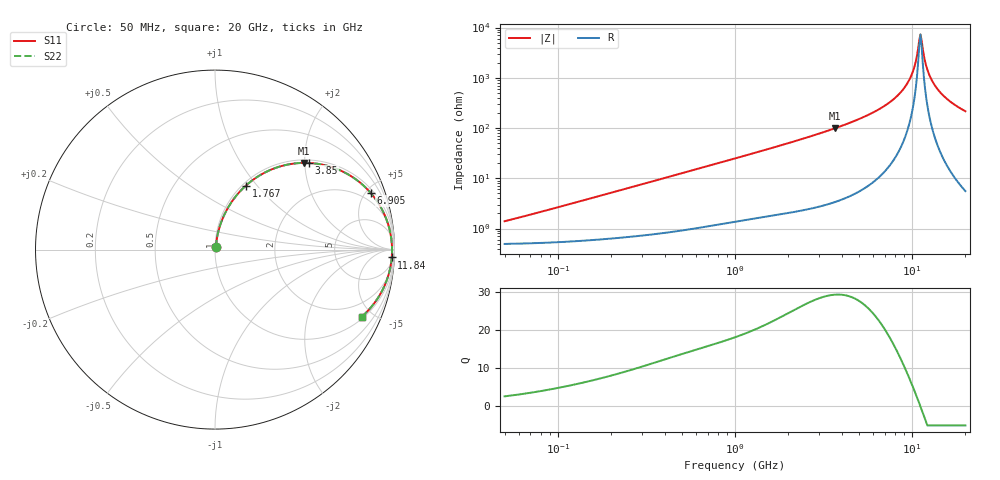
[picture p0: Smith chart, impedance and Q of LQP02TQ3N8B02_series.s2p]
!Murata Part Number: LQP02TQ3N8B02
!These Parameters are Measured in Series Mode Connection
!  o--[Z]--o
!Port1  Port2
!  o-------o
!Freq. Start=50[MHz] Stop=20[GHz], 401[Steps]
# Hz S RI R 50
!Freq.(Hz) S11(Real) S11(Imag) S21(Real) S21(Imag) S12(Real) S12(Imag) S22(Real) S22(Imag)
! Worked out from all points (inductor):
!   401 points, 50 MHz to 20 GHz, reference 50 ohm
!   read as one part in series: L = 4.15 nH near 58.08 MHz
!   highest Q = 29.4 at 3.681 GHz (marker M1), where L = 4.29 nH
!   self-resonance near 10.99 GHz
!   S11 on the Smith chart (normalised r, x): 50 MHz: 1.01, +0.03; 1.767 GHz: 1.04, +0.88; 3.85 GHz: 1.07, +2.10; 6.905 GHz: 1.26, +5.36; 11.84 GHz: 13, -41; 20 GHz: 1.11, -4.31
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5e7  0.00508 0.0129  0.9949 -0.0129  0.9949 -0.0129  0.00508 0.0129
1.364002e8  0.00688 0.0348  0.9931 -0.0348  0.9931 -0.0348  0.00688 0.0348
3.721004e8  0.0164 0.0917  0.9836 -0.0917  0.9836 -0.0917  0.0164 0.0917
1e9  0.0691 0.2276  0.9309 -0.2276  0.9309 -0.2276  0.0691 0.2276
1.766834e9  0.1724 0.3568  0.8276 -0.3568  0.8276 -0.3568  0.1724 0.3568
2.728004e9  0.334 0.4539  0.666 -0.4539  0.666 -0.4539  0.334 0.4539
3.680849e9  0.4965 0.4833  0.5035 -0.4833  0.5035 -0.4833  0.4965 0.4833
3.850025e9  0.5236 0.4827  0.4764 -0.4827  0.4764 -0.4827  0.5236 0.4827
5.352748e9  0.7281 0.4266  0.2719 -0.4266  0.2719 -0.4266  0.7281 0.4266
6.905011e9  0.8665 0.3169  0.1335 -0.3169  0.1335 -0.3169  0.8665 0.3169
7.442007e9  0.8993 0.2747  0.1007 -0.2747  0.1007 -0.2747  0.8993 0.2747
8.644534e9  0.9506 0.1801  0.0494 -0.1801  0.0494 -0.1801  0.9506 0.1801
9.600142e9  0.9736 0.1077  0.0264 -0.1077  0.0264 -0.1077  0.9736 0.1077
1.019291e10  0.9816 0.0649  0.0184 -0.0649  0.0184 -0.0649  0.9816 0.0649
1.082228e10  0.9858 0.0215  0.0142 -0.0215  0.0142 -0.0215  0.9858 0.0215
1.115139e10  0.9864 -0.000345  0.0136 0.000345  0.0136 0.000345  0.9864 -0.000345
1.149051e10  0.9861 -0.0222  0.0139 0.0222  0.0139 0.0222  0.9861 -0.0222
1.183995e10  0.9848 -0.044  0.0152 0.044  0.0152 0.044  0.9848 -0.044
1.276073e10  0.9772 -0.098  0.0228 0.098  0.0228 0.098  0.9772 -0.098
1.417136e10  0.9566 -0.1716  0.0434 0.1716  0.0434 0.1716  0.9566 -0.1716
1.646126e10  0.9083 -0.2688  0.0917 0.2688  0.0917 0.2688  0.9083 -0.2688
2e10  0.8169 -0.3741  0.1831 0.3741  0.1831 0.3741  0.8169 -0.3741
